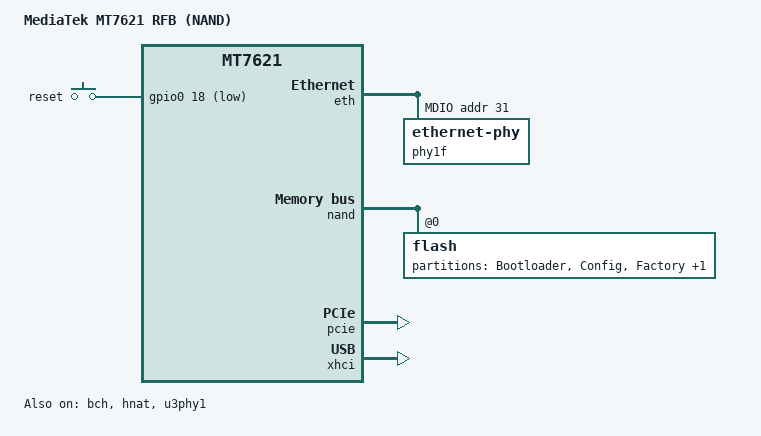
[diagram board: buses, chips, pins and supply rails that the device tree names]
/dts-v1/;

#include "mt7621.dtsi"
#include <dt-bindings/input/input.h>

/ {
	compatible = "mediatek,mt7621-rfb-nand", "mediatek,mt7621-soc";
	model = "MediaTek MT7621 RFB (NAND)";

	chosen {
		bootargs = "console=ttyS0,115200";
	};

	gpio-keys-polled {
		compatible = "gpio-keys-polled";
		#address-cells = <1>;
		#size-cells = <0>;
		poll-interval = <20>;

		reset {
			label = "reset";
			gpios = <&gpio0 18 1>;
			linux,code = <KEY_RESTART>;
		};
	};
};

&bch {
	status = "okay";
};

&eth {
        status = "okay";

        gmac0: mac@0 {
                compatible = "mediatek,eth-mac";
                reg = <0>;
                phy-mode = "trgmii";
                fixed-link {
                        speed = <1000>;
                        full-duplex;
                        pause;
                };
        };

        gmac1: mac@1 {
                compatible = "mediatek,eth-mac";
                reg = <1>;
                phy-mode = "rgmii";
                fixed-link {
                        speed = <1000>;
                        full-duplex;
                        pause;
                };
        };

        mdio: mdio-bus {
                #address-cells = <1>;
                #size-cells = <0>;

                phy1f: ethernet-phy@1f {
                        reg = <0x1f>;
                        phy-mode = "rgmii";
                };
        };
};

&gsw {
        mediatek,mdio = <&mdio>;
        mediatek,portmap = "llllw";
        mediatek,mcm;
	mt7530,direct-phy-access;

        resets = <&rstctrl 2>;
        reset-names = "mcm";

        port5: port@5 {
                compatible = "mediatek,mt753x-port";
                reg = <5>;
                phy-mode = "rgmii";
                fixed-link {
                        speed = <1000>;
                        full-duplex;
                };
        };

        port6: port@6 {
                compatible = "mediatek,mt753x-port";
                reg = <6>;
                phy-mode = "trgmii";
                fixed-link {
                        speed = <1000>;
                        full-duplex;
                };
        };

        mdio-bus {
                #address-cells = <1>;
                #size-cells = <0>;
        };
};

&hnat {
        mtketh-wan = "eth1";
        mtketh-ppd = "eth0";
	ext-devices = "rai0", "ra0", "rai1", "ra1", "rai2", "ra2", "rai3", "ra3", "apclii0", "apcli0";
        mtketh-max-gmac = <2>;
        status = "okay";
};

&nand {
	status = "okay";

	flash@0 {
		reg = <0>;
		nand-ecc-mode = "hw";
		partitions {
			compatible = "fixed-partitions";
			#address-cells = <1>;
			#size-cells = <1>;

			partition@0 {
				label = "Bootloader";
				reg = <0x00000 0x0080000>;
				read-only;
			};

			partition@80000 {
				label = "Config";
				reg = <0x80000 0x0080000>;
			};

			partition@100000 {
				label = "Factory";
				reg = <0x100000 0x0040000>;
			};

			partition@140000 {
				label = "firmware";
				reg = <0x140000 0x7ec0000>;
			};
		};
	};
};

&pinctrl {
	state_default: pinctrl0 {
		gpio {
			mtk,group = "i2c", "uart2", "uart3";
			mtk,function = "gpio";
		};
	};
};

&pcie {
	status = "okay";
};

&u3phy1 {
	status = "okay";
};

&xhci {
	status = "okay";
};
